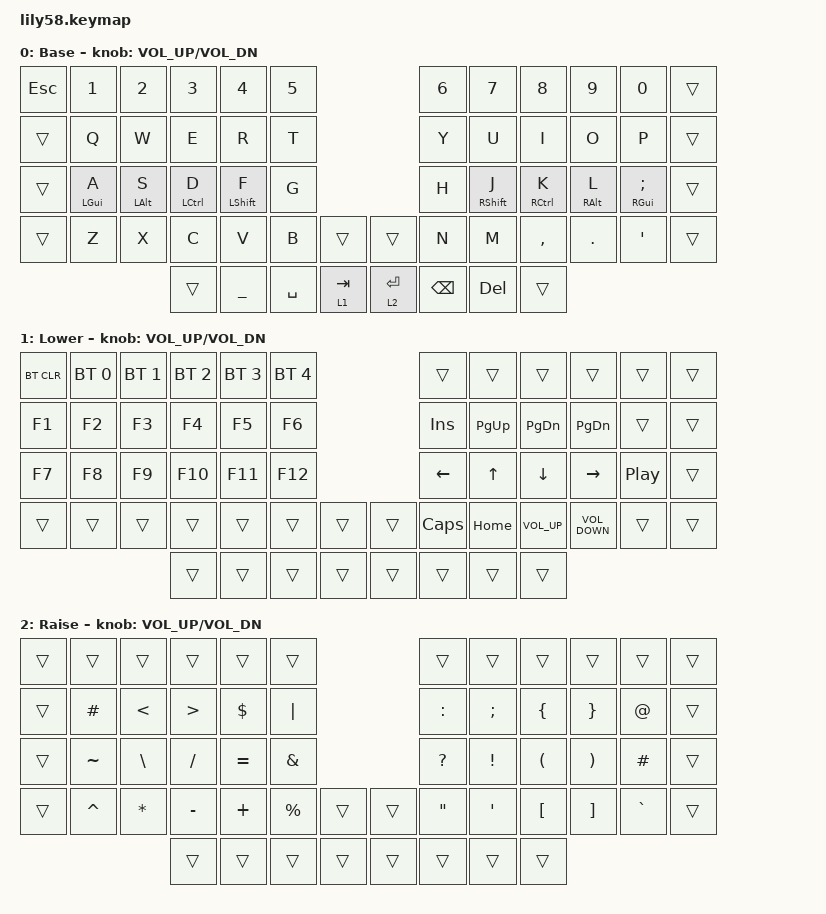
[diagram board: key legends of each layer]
/*
 * Copyright (c) 2020 The ZMK Contributors
 *
 * SPDX-License-Identifier: MIT
 */

#include <behaviors.dtsi>
#include <dt-bindings/zmk/bt.h>
#include <dt-bindings/zmk/keys.h>

/ {
    behaviors {
        hm: hm {
            compatible = "zmk,behavior-hold-tap";
            label = "HM";
            bindings = <&kp>, <&kp>;

            #binding-cells = <2>;
            tapping-term-ms = <250>;
            flavor = "balanced";
            quick-tap-ms = <175>;
            require-prior-idle-ms = <150>;
        };

        hml: hml {
            compatible = "zmk,behavior-hold-tap";
            label = "HML";
            bindings = <&kp>, <&kp>;

            #binding-cells = <2>;
            flavor = "balanced";
            tapping-term-ms = <250>;
            quick-tap-ms = <175>;
            require-prior-idle-ms = <150>;
            hold-trigger-key-positions = <30 31 32 33 34 6 10 11 18 19 20 21 22 23 30 31 32 33 34 35 43 44 45 46 47 48 49 8 9 7 54 55 56 57>;
        };

        hmr: hmr {
            compatible = "zmk,behavior-hold-tap";
            label = "HMR";
            bindings = <&kp>, <&kp>;

            #binding-cells = <2>;
            flavor = "balanced";
            tapping-term-ms = <250>;
            quick-tap-ms = <175>;
            require-prior-idle-ms = <150>;
            hold-trigger-key-positions = <0 1 2 3 4 5 12 13 14 15 16 17 24 25 26 27 28 29 36 37 38 39 40 41 42 50 51 52 53>;
        };

        hm_pinky_l: hm_pinky_l {
            compatible = "zmk,behavior-hold-tap";
            label = "HM_PINKY_L";
            bindings = <&kp>, <&kp>;

            #binding-cells = <2>;
            tapping-term-ms = <280>;
            quick-tap-ms = <175>;
            require-prior-idle-ms = <150>;
            flavor = "balanced";
            hold-trigger-key-positions = <6 7 8 9 10 11 18 19 20 21 22 23 30 31 32 33 34 35 44 45 46 47 48 49 30 31 32 33 34 35 43 44 45 46 47 48 49 54 55 56 57>;
        };

        hm_pinky_r: hm_pinky_r {
            compatible = "zmk,behavior-hold-tap";
            label = "HM_PINKY_R";
            bindings = <&kp>, <&kp>;

            #binding-cells = <2>;
            tapping-term-ms = <280>;
            quick-tap-ms = <175>;
            require-prior-idle-ms = <150>;
            flavor = "balanced";
            hold-trigger-key-positions = <0 1 2 3 4 5 12 13 14 15 16 17 24 25 26 27 28 29 36 37 38 39 40 41 42 50 51 52 53>;
        };
    };

    keymap {
        compatible = "zmk,keymap";

        default_layer {
            // ------------------------------------------------------------------------------------------------------------
            // |  ESC  |  1  |  2  |  3   |  4   |  5   |                   |  6   |  7    |  8    |  9   |   0   |   `   |
            // |  TAB  |  Q  |  W  |  E   |  R   |  T   |                   |  Y   |  U    |  I    |  O   |   P   |   -   |
            // |  CTRL |  A  |  S  |  D   |  F   |  G   |                   |  H   |  J    |  K    |  L   |   ;   |   '   |
            // | SHIFT |  Z  |  X  |  C   |  V   |  B   |   "["  |  |  "]"  |  N   |  M    |  ,    |  .   |   /   | SHIFT |
            //                     | ALT  | GUI  | LOWER|  SPACE |  | ENTER | RAISE| BSPC  | GUI   |

            display-name = "Base";
            bindings = <
&kp ESC  &kp N1                  &kp N2           &kp N3               &kp N4             &kp N5                               &kp N6         &kp N7              &kp N8                &kp N9            &kp N0                      &trans
&trans   &kp Q                   &kp W            &kp E                &kp R              &kp T                                &kp Y          &kp U               &kp I                 &kp O             &kp P                       &trans
&trans   &hm_pinky_l LEFT_GUI A  &hml LEFT_ALT S  &hml LEFT_CONTROL D  &hml LEFT_SHIFT F  &kp G                                &kp H          &hmr RIGHT_SHIFT J  &hmr RIGHT_CONTROL K  &hmr RIGHT_ALT L  &hm_pinky_r RIGHT_GUI SEMI  &trans
&trans   &kp Z                   &kp X            &kp C                &kp V              &kp B      &trans       &trans       &kp N          &kp M               &kp COMMA             &kp DOT           &kp SQT                     &trans
                                                  &trans               &kp UNDERSCORE     &kp SPACE  &lt 1 TAB    &lt 2 ENTER  &kp BACKSPACE  &kp DEL             &trans
            >;

            sensor-bindings = <&inc_dec_kp C_VOL_UP C_VOL_DN>;
        };

        nav {
            // ------------------------------------------------------------------------------------------------------------
            // | BTCLR | BT1 | BT2 |  BT3 |  BT4 |  BT5 |                   |      |       |       |      |       |       |
            // |  F1   |  F2 |  F3 |  F4  |  F5  |  F6  |                   |  F7  |  F8   |  F9   |  F10 |  F11  |  F12  |
            // |   `   |  !  |  @  |  #   |  $   |  %   |                   |  ^   |  &    |  *    |  (   |   )   |   ~   |
            // |       |     |     |      |      |      |        |  |       |      |  _    |  +    |  {   |   }   |  "|"  |
            //                     |      |      |      |        |  |       |      |       |       |

            display-name = "Lower";
            bindings = <
&bt BT_CLR  &bt BT_SEL 0  &bt BT_SEL 1  &bt BT_SEL 2  &bt BT_SEL 3  &bt BT_SEL 4                    &trans        &trans        &trans           &trans             &trans            &trans
&kp F1      &kp F2        &kp F3        &kp F4        &kp F5        &kp F6                          &kp INS       &kp PAGE_UP   &kp PAGE_DOWN    &kp PAGE_DOWN      &trans            &trans
&kp F7      &kp F8        &kp F9        &kp F10       &kp F11       &kp F12                         &kp LEFT      &kp UP_ARROW  &kp DOWN         &kp RIGHT          &kp C_PLAY_PAUSE  &trans
&trans      &trans        &trans        &trans        &trans        &trans        &trans    &trans  &kp CAPSLOCK  &kp HOME      &kp C_VOLUME_UP  &kp C_VOLUME_DOWN  &trans            &trans
                                        &trans        &trans        &trans        &trans    &trans  &trans        &trans        &trans
            >;

            sensor-bindings = <&inc_dec_kp C_VOL_UP C_VOL_DN>;
        };

        sym {
            // ------------------------------------------------------------------------------------------------------------
            // |       |     |     |      |      |      |                   |      |       |       |      |       |       |
            // |   `   |  1  |  2  |  3   |  4   |  5   |                   |  6   |   7   |   8   |  9   |   0   |       |
            // |   F1  |  F2 |  F3 |  F4  |  F5  |  F6  |                   |      |   <-  |   v   |  ^   |  ->   |       |
            // |   F7  |  F8 |  F9 |  F10 |  F11 |  F12 |        |  |       |  +   |   -   |   =   |  [   |   ]   |   \   |
            //                     |      |      |      |        |  |       |      |       |       |

            display-name = "Raise";
            bindings = <
&trans  &trans     &trans         &trans            &trans      &trans                           &trans             &trans           &trans                &trans                 &trans       &trans
&trans  &kp HASH   &kp LESS_THAN  &kp GREATER_THAN  &kp DOLLAR  &kp PIPE                         &kp COLON          &kp SEMICOLON    &kp LEFT_BRACE        &kp RIGHT_BRACE        &kp AT_SIGN  &trans
&trans  &kp TILDE  &kp BACKSLASH  &kp SLASH         &kp EQUAL   &kp AMPERSAND                    &kp QUESTION       &kp EXCLAMATION  &kp LEFT_PARENTHESIS  &kp RIGHT_PARENTHESIS  &kp HASH     &trans
&trans  &kp CARET  &kp ASTERISK   &kp MINUS         &kp PLUS    &kp PERCENT    &trans    &trans  &kp DOUBLE_QUOTES  &kp SQT          &kp LEFT_BRACKET      &kp RIGHT_BRACKET      &kp GRAVE    &trans
                                  &trans            &trans      &trans         &trans    &trans  &trans             &trans           &trans
            >;

            sensor-bindings = <&inc_dec_kp C_VOL_UP C_VOL_DN>;
        };

        extra_1 { status = "reserved"; };

        extra_2 { status = "reserved"; };

        extra_3 { status = "reserved"; };
    };
};
